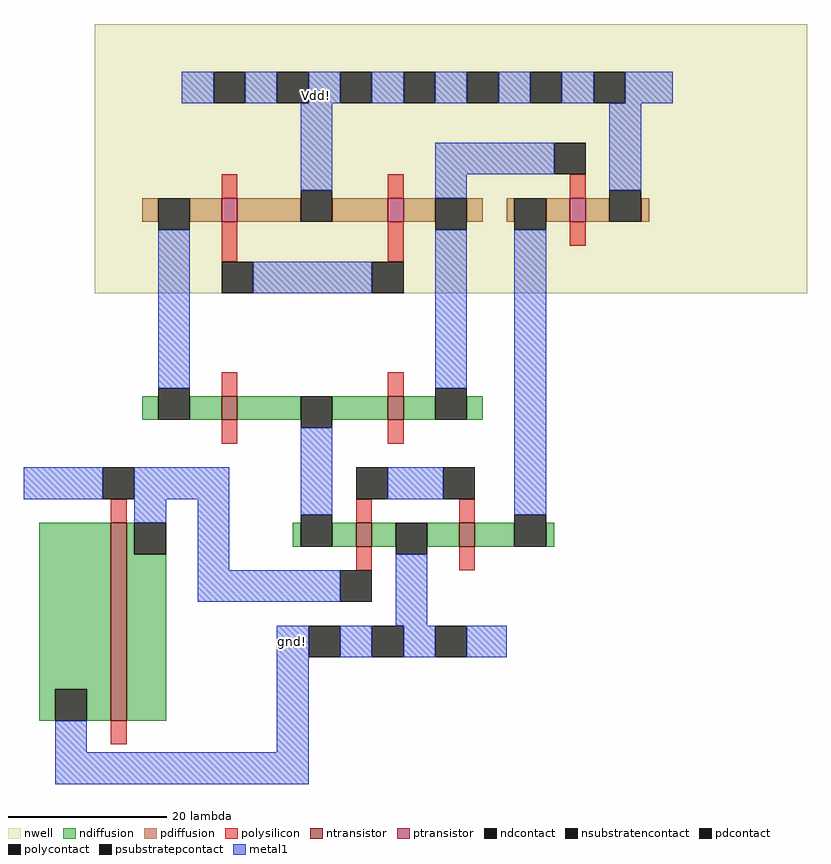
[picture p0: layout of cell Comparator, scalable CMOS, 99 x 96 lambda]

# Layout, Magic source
magic
tech scmos
<< nwell >>
rect -30 61 60 95
<< ntransistor >>
rect -14 45 -12 48
rect 7 45 9 48
rect -28 7 -26 32
rect 3 29 5 32
rect 16 29 18 32
<< ptransistor >>
rect -14 70 -12 73
rect 7 70 9 73
rect 30 70 32 73
<< ndiffusion >>
rect -24 45 -22 48
rect -18 45 -14 48
rect -12 45 -4 48
rect 0 45 7 48
rect 9 45 13 48
rect 17 45 19 48
rect -37 11 -28 32
rect -37 7 -35 11
rect -31 7 -28 11
rect -26 28 -25 32
rect -5 29 -4 32
rect 0 29 3 32
rect 5 29 8 32
rect -26 7 -21 28
rect 12 29 16 32
rect 18 29 23 32
rect 27 29 28 32
<< pdiffusion >>
rect -24 70 -22 73
rect -18 70 -14 73
rect -12 70 -4 73
rect 0 70 7 73
rect 9 70 13 73
rect 17 70 19 73
rect 22 70 23 73
rect 27 70 30 73
rect 32 70 35 73
rect 39 70 40 73
<< ndcontact >>
rect -22 45 -18 49
rect -4 44 0 48
rect 13 45 17 49
rect -35 7 -31 11
rect -25 28 -21 32
rect -4 29 0 33
rect 8 28 12 32
rect 23 29 27 33
<< pdcontact >>
rect -22 69 -18 73
rect -4 70 0 74
rect 13 69 17 73
rect 23 69 27 73
rect 35 70 39 74
<< psubstratepcontact >>
rect -3 15 1 19
rect 5 15 9 19
rect 13 15 17 19
<< nsubstratencontact >>
rect -15 85 -11 89
rect -7 85 -3 89
rect 1 85 5 89
rect 9 85 13 89
rect 17 85 21 89
rect 25 85 29 89
rect 33 85 37 89
<< polysilicon >>
rect -14 73 -12 76
rect 7 73 9 76
rect 30 73 32 76
rect -14 65 -12 70
rect 7 65 9 70
rect 30 67 32 70
rect -14 48 -12 51
rect 7 48 9 51
rect -14 42 -12 45
rect 7 42 9 45
rect -28 32 -26 35
rect 3 32 5 35
rect 16 32 18 35
rect 3 26 5 29
rect 16 26 18 29
rect -28 4 -26 7
<< polycontact >>
rect 28 76 32 80
rect -14 61 -10 65
rect 5 61 9 65
rect -29 35 -25 39
rect 3 35 7 39
rect 14 35 18 39
rect 1 22 5 26
<< metal1 >>
rect -19 85 -15 89
rect -11 85 -7 89
rect -3 85 1 89
rect 5 85 9 89
rect 13 85 17 89
rect 21 85 25 89
rect 29 85 33 89
rect 37 85 43 89
rect -4 74 0 85
rect 13 76 28 80
rect 13 73 17 76
rect 35 74 39 85
rect -22 49 -18 69
rect -10 61 5 65
rect 13 49 17 69
rect -39 35 -29 39
rect -25 35 -13 39
rect -25 32 -21 35
rect -17 26 -13 35
rect -4 33 0 44
rect 7 35 14 39
rect 23 33 27 69
rect -17 22 1 26
rect 8 19 12 28
rect -35 3 -31 7
rect -7 3 -3 19
rect 1 15 5 19
rect 9 15 13 19
rect 17 15 22 19
rect -35 -1 -3 3
<< labels >>
rlabel metal1 -2 86 -2 86 1 Vdd!
rlabel metal1 -5 17 -5 17 1 gnd!
<< end >>
